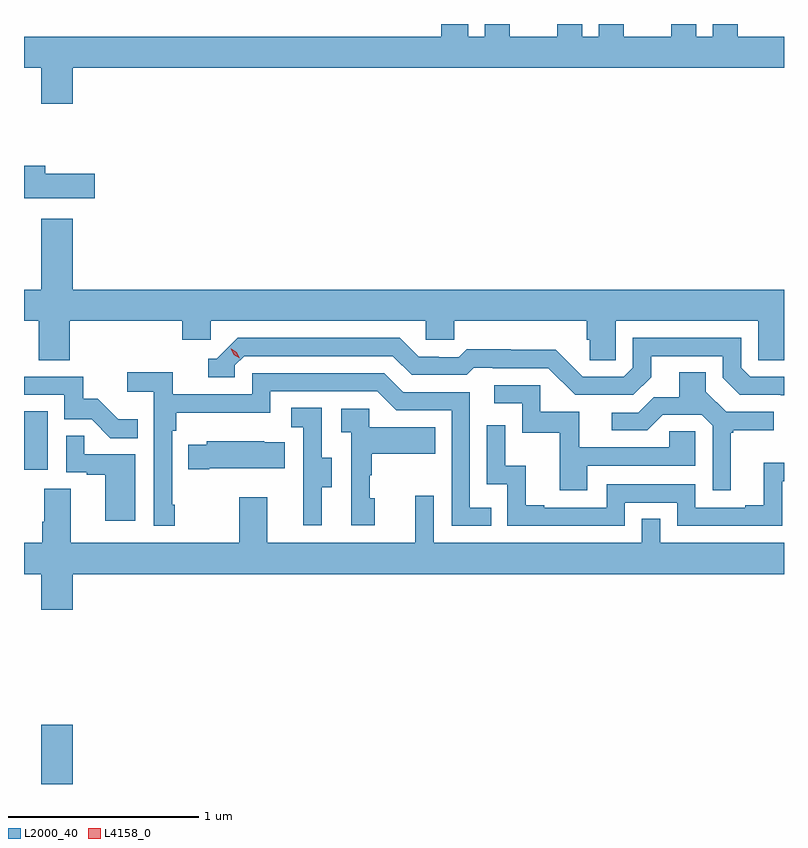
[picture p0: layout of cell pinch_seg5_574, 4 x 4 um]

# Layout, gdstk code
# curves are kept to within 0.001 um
import gdstk
lib = gdstk.Library(unit=1e-6, precision=1e-09)
def R(c, l, rs):  # rectangles x0, y0, x1, y1
    for r in rs: c.add(gdstk.rectangle(r[:2], r[2:], *l))
def P(c, l, *ps):  # polygons
    for p in ps: c.add(gdstk.Polygon(p, *l))
L2000_40 = (2000, 40)
L4158_0 = (4158, 0)

pinch_seg5_574 = lib.new_cell('pinch_seg5_574')
R(pinch_seg5_574, L2000_40, [(1142.03,863.647,1142.194,863.959), (1141.938,865.302,1142.062,865.609)])
P(pinch_seg5_574, L2000_40, [(1142.194,867.416),(1145.938,867.416),(1145.938,867.58),(1145.695,867.58),(1145.695,867.647),(1145.564,867.647),(1145.564,867.58),(1145.476,867.58),(1145.476,867.647),(1145.345,867.647),(1145.345,867.58),(1145.095,867.58),(1145.095,867.647),(1144.964,867.647),(1144.964,867.58),(1144.876,867.58),(1144.876,867.647),(1144.745,867.647),(1144.745,867.58),(1144.495,867.58),(1144.495,867.647),(1144.364,867.647),(1144.364,867.58),(1144.276,867.58),(1144.276,867.647),(1144.133,867.647),(1144.133,867.58),(1141.938,867.58),(1141.938,867.416),(1142.03,867.416),(1142.03,867.228),(1142.194,867.228)],
  [(1142.311,866.859),(1142.05,866.859),(1142.05,866.9),(1141.938,866.9),(1141.938,866.729),(1142.311,866.729)],
  [(1142.18,866.084),(1142.771,866.084),(1142.771,865.986),(1142.922,865.986),(1142.922,866.084),(1144.053,866.084),(1144.053,865.986),(1144.203,865.986),(1144.203,866.084),(1144.901,866.084),(1144.901,865.986),(1144.915,865.986),(1144.915,865.876),(1145.052,865.876),(1145.052,866.084),(1145.802,866.084),(1145.802,865.876),(1145.938,865.876),(1145.938,866.248),(1142.194,866.248),(1142.194,866.623),(1142.03,866.623),(1142.03,866.248),(1141.938,866.248),(1141.938,866.084),(1142.015,866.084),(1142.015,865.876),(1142.18,865.876)],
  [(1145.938,865.791),(1145.76,865.791),(1145.712,865.839),(1145.712,865.995),(1145.142,865.995),(1145.142,865.839),(1145.094,865.791),(1144.878,865.791),(1144.736,865.933),(1144.5,865.933),(1144.5,865.936),(1144.267,865.936),(1144.225,865.893),(1144.122,865.893),(1144.122,865.896),(1144.015,865.896),(1143.916,865.995),(1143.063,865.995),(1142.952,865.884),(1142.909,865.884),(1142.909,865.788),(1143.048,865.788),(1143.048,865.851),(1143.096,865.899),(1143.879,865.899),(1143.978,865.8),(1144.267,865.8),(1144.306,865.839),(1144.405,865.839),(1144.405,865.836),(1144.698,865.836),(1144.839,865.695),(1145.145,865.695),(1145.239,865.789),(1145.239,865.899),(1145.616,865.899),(1145.616,865.785),(1145.706,865.695),(1145.938,865.694)],
  [(1145.659,865.497),(1145.671,865.497),(1145.671,865.508),(1145.884,865.508),(1145.884,865.605),(1145.634,865.605),(1145.527,865.712),(1145.527,865.814),(1145.387,865.814),(1145.387,865.682),(1145.252,865.682),(1145.172,865.602),(1145.031,865.602),(1145.031,865.509),(1145.218,865.509),(1145.299,865.59),(1145.505,865.59),(1145.562,865.533),(1145.562,865.194),(1145.659,865.194)],
  [(1142.731,865.117),(1142.718,865.117),(1142.718,865.505),(1142.738,865.505),(1142.738,865.601),(1143.234,865.601),(1143.234,865.713),(1143.798,865.713),(1143.897,865.614),(1144.188,865.614),(1144.188,865.005),(1144.397,865.005),(1144.397,865.101),(1144.284,865.101),(1144.284,865.71),(1143.934,865.71),(1143.835,865.809),(1143.138,865.809),(1143.138,865.698),(1142.72,865.698),(1142.72,865.814),(1142.481,865.814),(1142.481,865.712),(1142.622,865.712),(1142.622,865.005),(1142.731,865.005)],
  [(1142.537,865.567),(1142.433,865.567),(1142.326,865.674),(1142.25,865.674),(1142.25,865.791),(1141.938,865.791),(1141.938,865.695),(1142.151,865.695),(1142.151,865.566),(1142.295,865.566),(1142.393,865.468),(1142.537,865.468)],
  [(1144.903,865.323),(1145.472,865.323),(1145.472,865.503),(1145.335,865.503),(1145.335,865.419),(1144.861,865.419),(1144.861,865.605),(1144.656,865.605),(1144.656,865.746),(1144.413,865.746),(1144.413,865.65),(1144.56,865.65),(1144.56,865.497),(1144.759,865.497),(1144.759,865.194),(1144.903,865.194)],
  [(1143.505,865.21),(1143.559,865.21),(1143.559,865.365),(1143.504,865.365),(1143.504,865.628),(1143.345,865.628),(1143.345,865.525),(1143.408,865.525),(1143.408,865.221),(1143.407,865.221),(1143.407,865.008),(1143.505,865.008)],
  [(1143.784,865.152),(1143.759,865.152),(1143.759,865.271),(1143.769,865.271),(1143.769,865.385),(1144.103,865.385),(1144.103,865.525),(1143.756,865.525),(1143.756,865.623),(1143.609,865.623),(1143.609,865.499),(1143.66,865.499),(1143.66,865.008),(1143.784,865.008)],
  [(1145.1,865.128),(1145.376,865.128),(1145.376,865.005),(1145.928,865.005),(1145.928,865.241),(1145.938,865.241),(1145.938,865.339),(1145.831,865.339),(1145.831,865.114),(1145.735,865.114),(1145.735,865.101),(1145.472,865.101),(1145.472,865.224),(1145.004,865.224),(1145.004,865.101),(1144.675,865.101),(1144.675,865.114),(1144.58,865.114),(1144.58,865.322),(1144.47,865.322),(1144.47,865.534),(1144.374,865.534),(1144.374,865.224),(1144.482,865.224),(1144.482,865.005),(1145.1,865.005)],
  [(1142.524,865.383),(1142.255,865.383),(1142.255,865.481),(1142.16,865.481),(1142.16,865.287),(1142.267,865.287),(1142.267,865.275),(1142.366,865.275),(1142.366,865.032),(1142.524,865.032)],
  [(1142.914,865.31),(1143.311,865.31),(1143.311,865.447),(1143.203,865.447),(1143.203,865.45),(1142.901,865.45),(1142.901,865.432),(1142.803,865.432),(1142.803,865.303),(1142.914,865.303)],
  [(1142.194,864.752),(1145.938,864.752),(1145.938,864.916),(1145.286,864.916),(1145.286,865.043),(1145.19,865.043),(1145.19,864.916),(1144.095,864.916),(1144.095,865.165),(1143.998,865.165),(1143.998,864.916),(1143.217,864.916),(1143.217,865.156),(1143.07,865.156),(1143.07,864.916),(1142.185,864.916),(1142.185,865.202),(1142.045,865.202),(1142.045,865.028),(1142.033,865.028),(1142.033,864.916),(1141.938,864.916),(1141.938,864.752),(1142.03,864.752),(1142.03,864.564),(1142.194,864.564)])
P(pinch_seg5_574, L4158_0, [(1143.074,865.887),(1143.043,865.906),(1143.027,865.939),(1143.027,865.939),(1143.028,865.939),(1143.058,865.92),(1143.074,865.887),(1143.074,865.887)])

lib.write_gds('pinch_seg5_574.gds')
